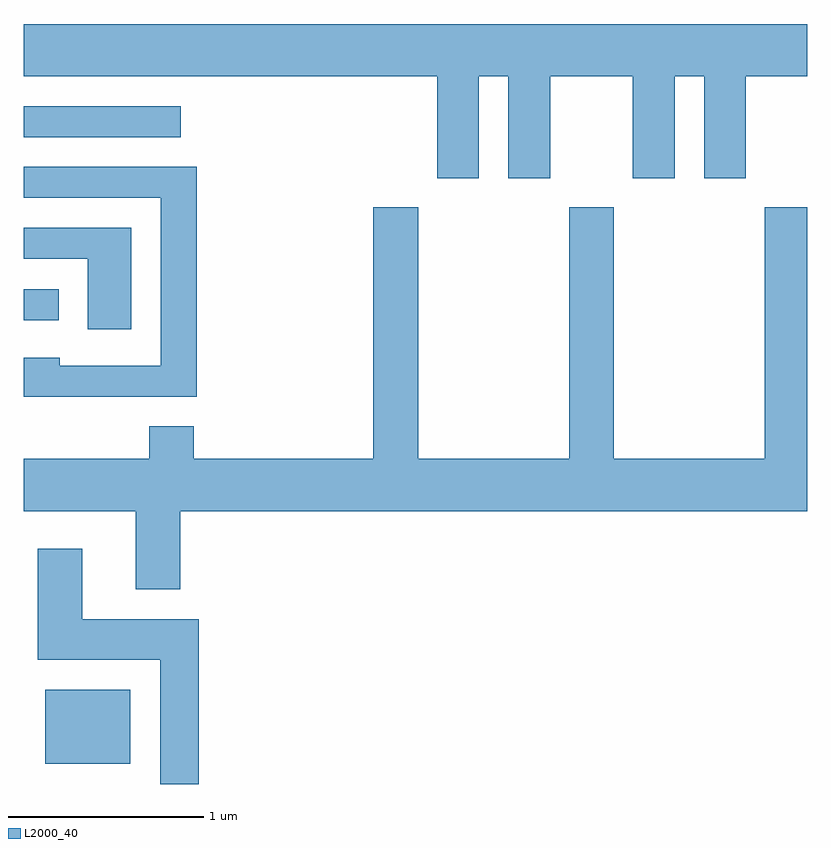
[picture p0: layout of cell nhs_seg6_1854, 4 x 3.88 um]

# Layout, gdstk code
import gdstk
lib = gdstk.Library(unit=1e-6, precision=1e-09)
def R(c, l, rs):  # rectangles x0, y0, x1, y1
    for r in rs: c.add(gdstk.rectangle(r[:2], r[2:], *l))
def P(c, l, *ps):  # polygons
    for p in ps: c.add(gdstk.Polygon(p, *l))
L2000_40 = (2000, 40)

nhs_seg6_1854 = lib.new_cell('nhs_seg6_1854')
R(nhs_seg6_1854, L2000_40, [(241.721,1584.266,242.154,1584.644), (241.611,1586.531,241.788,1586.689), (241.611,1587.466,242.413,1587.624)])
P(nhs_seg6_1854, L2000_40, [(243.934,1587.776),(244.086,1587.776),(244.086,1587.256),(244.299,1587.256),(244.299,1587.776),(244.721,1587.776),(244.721,1587.256),(244.934,1587.256),(244.934,1587.776),(245.086,1587.776),(245.086,1587.256),(245.299,1587.256),(245.299,1587.776),(245.611,1587.776),(245.611,1588.044),(241.611,1588.044),(241.611,1587.776),(243.721,1587.776),(243.721,1587.256),(243.934,1587.256)],
  [(242.494,1587.314),(241.611,1587.314),(241.611,1587.156),(242.311,1587.156),(242.311,1586.299),(241.794,1586.299),(241.794,1586.339),(241.611,1586.339),(241.611,1586.141),(242.494,1586.141)],
  [(245.611,1587.109),(245.396,1587.109),(245.396,1585.824),(244.624,1585.824),(244.624,1587.109),(244.396,1587.109),(244.396,1585.824),(243.624,1585.824),(243.624,1587.109),(243.396,1587.109),(243.396,1585.824),(242.479,1585.824),(242.479,1585.989),(242.251,1585.989),(242.251,1585.824),(241.611,1585.824),(241.611,1585.556),(242.181,1585.556),(242.181,1585.156),(242.409,1585.156),(242.409,1585.556),(245.611,1585.556)],
  [(242.159,1587.004),(241.611,1587.004),(241.611,1586.846),(241.936,1586.846),(241.936,1586.486),(242.159,1586.486)],
  [(242.504,1585.004),(241.909,1585.004),(241.909,1585.364),(241.681,1585.364),(241.681,1584.796),(242.306,1584.796),(242.306,1584.162),(242.504,1584.162)])

lib.write_gds('nhs_seg6_1854.gds')
